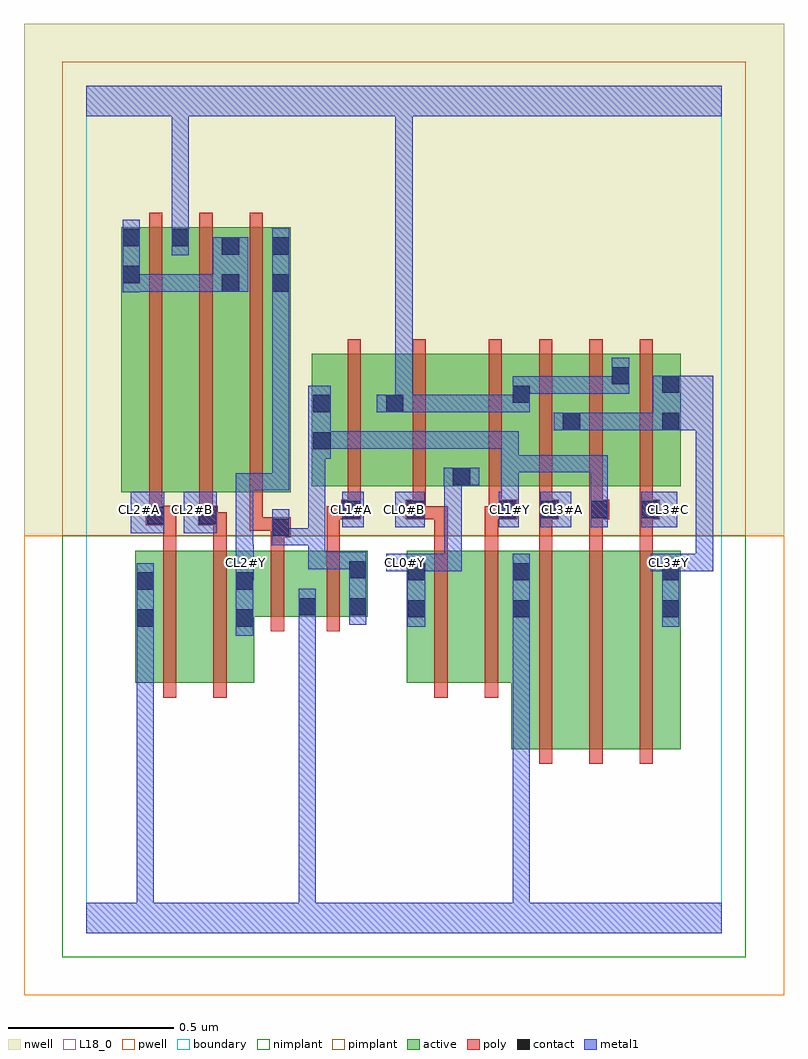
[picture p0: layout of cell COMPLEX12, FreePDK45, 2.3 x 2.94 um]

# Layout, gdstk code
import gdstk
lib = gdstk.Library(unit=1e-6, precision=1e-09)
def R(c, l, rs):  # rectangles x0, y0, x1, y1
    for r in rs: c.add(gdstk.rectangle(r[:2], r[2:], *l))
def A(c, l, x, y, w, h, nx, ny, dx, dy):  # array of equal rectangles
    R(c, l, [(x+i*dx, y+j*dy, x+i*dx+w, y+j*dy+h) for i in range(nx) for j in range(ny)])
active = (1, 0)
pwell = (2, 0)
nwell = (3, 0)
nimplant = (4, 0)
pimplant = (5, 0)
poly = (9, 0)
contact = (10, 0)
metal1 = (11, 0)
L18_0 = (18, 0)
boundary = (235, 0)

complex12 = lib.new_cell('COMPLEX12')
R(complex12, active, [(1.284,0.556,1.464,1.156), (1.464,0.556,1.616,1.156), (1.616,0.556,1.796,1.156), (1.736,0.556,1.796,1.156), (0.148,0.756,0.208,1.156), (0.148,0.756,0.328,1.156), (0.328,0.756,0.508,1.156), (0.448,0.756,0.508,1.156), (0.968,0.756,1.028,1.156), (0.968,0.756,1.148,1.156), (1.148,0.756,1.344,1.156), (1.284,0.756,1.344,1.156), (0.448,0.956,0.698,1.156), (0.638,0.956,0.698,1.156), (0.638,0.956,0.85,1.156), (0.79,0.956,0.85,1.156), (0.106,1.332,0.314,2.132), (0.106,1.332,0.166,2.132), (0.254,1.332,0.466,2.132), (0.406,1.332,0.618,2.132), (0.558,1.332,0.618,2.106), (0.682,1.35,0.742,1.644), (0.682,1.35,0.962,1.75), (0.902,1.35,0.962,1.644), (0.902,1.35,1.164,1.75), (1.104,1.35,1.164,1.644), (1.104,1.35,1.344,1.75), (1.284,1.35,1.496,1.75), (1.284,1.35,1.344,1.658), (1.436,1.35,1.644,1.75), (1.436,1.35,1.496,1.644), (1.584,1.35,1.796,1.75), (1.584,1.35,1.644,1.714), (1.736,1.35,1.796,1.688), (0.254,1.686,0.314,2.132), (0.406,1.686,0.466,2.106)])
R(complex12, pwell, [(-0.188,-0.188,2.108,1.2)])
R(complex12, nwell, [(-0.188,1.2,2.108,2.748)])
R(complex12, nimplant, [(-0.072,-0.072,1.992,1.2)])
R(complex12, pimplant, [(-0.072,1.2,1.992,2.632)])
A(complex12, poly, 1.368, 0.512, 0.04, 0.688, 3, 1, 0.152, 0)
A(complex12, poly, 1.368, 1.16, 0.04, 0.13, 3, 1, 0.152, 0)
A(complex12, poly, 1.368, 1.25, 0.06, 0.06, 3, 1, 0.152, 0)
A(complex12, poly, 1.216, 1.27, 0.04, 0.076, 4, 1, 0.152, 0)
A(complex12, poly, 0.19, 1.288, 0.04, 0.888, 3, 1, 0.152, 0)
A(complex12, poly, 1.216, 1.306, 0.04, 0.488, 4, 1, 0.152, 0)
R(complex12, poly, [(0.232,0.712,0.272,1.2), (0.384,0.712,0.424,1.2), (1.052,0.712,1.092,1.2), (1.204,0.712,1.244,1.2), (0.558,0.912,0.598,1.2), (0.726,0.912,0.766,1.2), (0.232,1.16,0.272,1.272), (0.384,1.16,0.424,1.272), (0.558,1.16,0.598,1.236), (0.726,1.16,0.766,1.29), (1.052,1.16,1.092,1.29), (1.204,1.16,1.244,1.29), (0.558,1.196,0.618,1.256), (0.494,1.216,0.534,1.328), (0.494,1.216,0.598,1.256), (0.558,1.216,0.598,1.256), (0.18,1.232,0.272,1.292), (0.338,1.232,0.398,1.292), (0.358,1.232,0.398,1.272), (0.358,1.232,0.424,1.272), (0.726,1.25,0.81,1.29), (0.77,1.25,0.81,1.29), (0.77,1.25,0.83,1.31), (0.966,1.25,1.026,1.31), (0.986,1.25,1.026,1.29), (0.986,1.25,1.092,1.29), (1.204,1.25,1.256,1.29), (1.216,1.25,1.256,1.29), (1.216,1.25,1.302,1.31), (1.52,1.25,1.56,1.29), (1.52,1.25,1.56,1.29), (1.672,1.25,1.712,1.29), (1.672,1.25,1.712,1.29), (0.19,1.252,0.23,1.328), (0.19,1.252,0.23,1.292), (0.19,1.252,0.23,1.292), (0.342,1.252,0.382,1.328), (0.79,1.27,0.83,1.346), (0.986,1.27,1.026,1.346), (1.368,1.27,1.408,1.31), (1.368,1.27,1.408,1.31), (0.79,1.306,0.83,1.794), (0.986,1.306,1.026,1.794)])
A(complex12, contact, 1.372, 1.254, 0.052, 0.052, 3, 1, 0.152, 0)
R(complex12, contact, [(0.152,0.926,0.204,0.978), (0.452,0.926,0.504,0.978), (0.972,0.954,1.024,1.006), (1.288,0.954,1.34,1.006), (1.74,0.954,1.792,1.006), (0.642,0.96,0.694,1.012), (0.794,0.96,0.846,1.012), (0.152,1.038,0.204,1.09), (0.452,1.038,0.504,1.09), (0.972,1.066,1.024,1.118), (1.288,1.066,1.34,1.118), (1.74,1.066,1.792,1.118), (0.794,1.072,0.846,1.124), (0.562,1.2,0.614,1.252), (0.184,1.236,0.236,1.288), (0.342,1.236,0.394,1.288), (0.774,1.254,0.826,1.306), (0.97,1.254,1.022,1.306), (1.246,1.254,1.298,1.306), (1.108,1.354,1.16,1.406), (0.686,1.462,0.738,1.514), (1.44,1.52,1.492,1.572), (1.74,1.52,1.792,1.572), (0.686,1.574,0.738,1.626), (0.906,1.574,0.958,1.626), (1.288,1.602,1.34,1.654), (1.74,1.632,1.792,1.684), (1.588,1.658,1.64,1.71), (0.41,1.938,0.462,1.99), (0.562,1.938,0.614,1.99), (0.11,1.964,0.162,2.016), (0.41,2.05,0.462,2.102), (0.562,2.05,0.614,2.102), (0.11,2.076,0.162,2.128), (0.258,2.076,0.31,2.128)])
R(complex12, metal1, [(0,0,1.92,0.092), (0.152,0.04,0.204,0.092), (0.152,0.04,0.204,0.092), (0.152,0.04,0.204,0.092), (0.152,0.04,0.204,0.092), (0.152,0.04,0.204,0.092), (0.152,0.04,0.204,0.092), (0.152,0.04,0.204,0.092), (0.152,0.04,0.204,0.092), (0.152,0.04,0.204,0.092), (0.152,0.04,0.204,0.092), (0.152,0.04,0.204,0.092), (0.152,0.04,0.204,0.092), (0.152,0.04,0.204,0.95), (0.642,0.04,0.694,0.092), (0.642,0.04,0.694,0.092), (0.642,0.04,0.694,0.092), (0.642,0.04,0.694,0.092), (0.642,0.04,0.694,0.092), (0.642,0.04,0.694,0.092), (0.642,0.04,0.694,0.092), (0.642,0.04,0.694,0.092), (0.642,0.04,0.694,0.092), (0.642,0.04,0.694,0.092), (0.642,0.04,0.694,0.092), (0.642,0.04,0.694,0.092), (0.642,0.04,0.694,0.092), (0.642,0.04,0.694,0.092), (0.642,0.04,0.694,0.092), (0.642,0.04,0.694,0.092), (0.642,0.04,0.694,0.984), (1.288,0.04,1.34,0.092), (1.288,0.04,1.34,0.092), (1.288,0.04,1.34,0.092), (1.288,0.04,1.34,0.092), (1.288,0.04,1.34,0.978), (0.152,0.898,0.204,1.118), (0.452,0.898,0.504,1.118), (0.97,0.926,1.024,1.146), (1.288,0.926,1.34,0.978), (1.288,0.926,1.34,0.978), (1.288,0.926,1.34,0.978), (1.288,0.926,1.34,0.978), (1.288,0.926,1.34,1.146), (1.74,0.926,1.792,1.146), (0.642,0.932,0.694,1.04), (0.794,0.932,0.846,1.152), (0.452,1.066,0.504,1.118), (0.452,1.066,0.506,1.174), (0.906,1.094,1.022,1.146), (0.97,1.094,1.022,1.146), (0.97,1.094,1.022,1.146), (0.97,1.094,1.022,1.146), (0.97,1.094,1.134,1.146), (1.082,1.094,1.134,1.146), (1.082,1.094,1.134,1.406), (1.706,1.094,1.894,1.146), (1.74,1.094,1.792,1.146), (1.842,1.094,1.894,1.572), (1.842,1.094,1.894,1.146), (1.842,1.094,1.894,1.146), (0.67,1.1,0.722,1.224), (0.67,1.1,0.726,1.152), (0.674,1.1,0.726,1.152), (0.674,1.1,0.726,1.152), (0.674,1.1,0.846,1.152), (0.452,1.122,0.504,1.39), (0.562,1.172,0.614,1.28), (0.562,1.172,0.616,1.224), (0.564,1.172,0.616,1.224), (0.564,1.172,0.722,1.224), (0.67,1.172,0.722,1.224), (0.67,1.172,0.722,1.224), (0.67,1.172,0.722,1.224), (0.67,1.172,0.722,1.486), (0.134,1.208,0.236,1.334), (0.294,1.208,0.394,1.334), (0.774,1.226,0.838,1.334), (0.934,1.226,1.022,1.334), (1.246,1.226,1.306,1.334), (1.372,1.226,1.466,1.334), (1.524,1.226,1.576,1.444), (1.676,1.226,1.786,1.334), (1.254,1.282,1.306,1.334), (1.254,1.282,1.306,1.444), (0.452,1.338,0.504,1.39), (0.452,1.338,0.504,1.39), (0.452,1.338,0.504,1.39), (0.452,1.338,0.614,1.39), (0.562,1.338,0.614,1.39), (0.562,1.338,0.614,1.962), (1.08,1.354,1.188,1.406), (1.082,1.354,1.134,1.406), (1.082,1.354,1.134,1.406), (1.254,1.392,1.45,1.444), (1.254,1.392,1.306,1.516), (1.398,1.392,1.45,1.444), (1.398,1.392,1.45,1.444), (1.398,1.392,1.45,1.444), (1.398,1.392,1.576,1.444), (0.67,1.434,0.738,1.654), (0.686,1.464,0.738,1.516), (0.686,1.464,0.738,1.516), (0.686,1.464,0.848,1.516), (0.796,1.464,0.848,1.516), (0.796,1.464,0.848,1.516), (0.796,1.464,0.848,1.516), (0.796,1.464,0.848,1.516), (0.796,1.464,0.848,1.516), (0.796,1.464,1.188,1.516), (1.136,1.464,1.188,1.516), (1.136,1.464,1.188,1.516), (1.136,1.464,1.188,1.516), (1.136,1.464,1.306,1.516), (1.254,1.464,1.306,1.516), (1.254,1.464,1.306,1.516), (1.254,1.464,1.306,1.516), (1.254,1.464,1.306,1.516), (1.254,1.464,1.306,1.516), (1.412,1.52,1.52,1.572), (1.468,1.52,1.56,1.572), (1.508,1.52,1.56,1.572), (1.508,1.52,1.648,1.572), (1.596,1.52,1.648,1.572), (1.596,1.52,1.764,1.572), (1.712,1.52,1.764,1.572), (1.712,1.52,1.764,1.572), (1.712,1.52,1.894,1.684), (0.878,1.574,0.986,1.626), (0.934,1.574,0.986,1.626), (0.934,1.574,0.986,1.626), (0.934,1.574,0.986,1.626), (0.934,1.574,0.986,1.626), (0.934,1.574,1.132,1.626), (0.934,1.574,0.986,2.52), (1.08,1.574,1.132,1.626), (1.08,1.574,1.132,1.626), (1.08,1.574,1.132,1.626), (1.08,1.574,1.298,1.626), (1.246,1.574,1.298,1.626), (1.246,1.574,1.34,1.626), (1.288,1.574,1.34,1.682), (1.288,1.63,1.45,1.682), (1.398,1.63,1.45,1.682), (1.398,1.63,1.45,1.682), (1.398,1.63,1.45,1.682), (1.398,1.63,1.618,1.682), (1.566,1.63,1.618,1.682), (1.566,1.63,1.64,1.682), (1.588,1.63,1.64,1.738), (0.562,1.91,0.614,2.13), (0.11,1.936,0.162,2.156), (0.11,1.938,0.162,1.99), (0.11,1.938,0.162,1.99), (0.11,1.938,0.272,1.99), (0.22,1.938,0.272,1.99), (0.22,1.938,0.272,1.99), (0.22,1.938,0.272,1.99), (0.22,1.938,0.434,1.99), (0.382,1.938,0.49,2.102), (0.258,2.048,0.31,2.156), (0.258,2.104,0.31,2.156), (0.258,2.104,0.31,2.156), (0.258,2.104,0.31,2.156), (0.258,2.104,0.31,2.156), (0.258,2.104,0.31,2.52), (0,2.468,1.92,2.56), (0.258,2.468,0.31,2.52), (0.258,2.468,0.31,2.52), (0.258,2.468,0.31,2.52), (0.258,2.468,0.31,2.52), (0.934,2.468,0.986,2.52), (0.934,2.468,0.986,2.52), (0.934,2.468,0.986,2.52), (0.934,2.468,0.986,2.52), (0.934,2.468,0.986,2.52), (0.934,2.468,0.986,2.52), (0.934,2.468,0.986,2.52), (0.934,2.468,0.986,2.52), (0.934,2.468,0.986,2.52), (0.934,2.468,0.986,2.52), (0.934,2.468,0.986,2.52), (0.934,2.468,0.986,2.52)])
R(complex12, L18_0, [(0,0,1.92,0.092), (0.152,0.04,0.204,0.092), (0.152,0.04,0.204,0.092), (0.152,0.04,0.204,0.092), (0.152,0.04,0.204,0.092), (0.152,0.04,0.204,0.092), (0.152,0.04,0.204,0.092), (0.152,0.04,0.204,0.092), (0.152,0.04,0.204,0.092), (0.152,0.04,0.204,0.092), (0.152,0.04,0.204,0.092), (0.152,0.04,0.204,0.092), (0.152,0.04,0.204,0.092), (0.152,0.04,0.204,0.95), (0.642,0.04,0.694,0.092), (0.642,0.04,0.694,0.092), (0.642,0.04,0.694,0.092), (0.642,0.04,0.694,0.092), (0.642,0.04,0.694,0.092), (0.642,0.04,0.694,0.092), (0.642,0.04,0.694,0.092), (0.642,0.04,0.694,0.092), (0.642,0.04,0.694,0.092), (0.642,0.04,0.694,0.092), (0.642,0.04,0.694,0.092), (0.642,0.04,0.694,0.092), (0.642,0.04,0.694,0.092), (0.642,0.04,0.694,0.092), (0.642,0.04,0.694,0.092), (0.642,0.04,0.694,0.092), (0.642,0.04,0.694,0.984), (1.288,0.04,1.34,0.092), (1.288,0.04,1.34,0.092), (1.288,0.04,1.34,0.092), (1.288,0.04,1.34,0.092), (1.288,0.04,1.34,0.978), (0.152,0.898,0.204,1.118), (0.452,0.898,0.504,1.118), (0.97,0.926,1.024,1.146), (1.288,0.926,1.34,0.978), (1.288,0.926,1.34,0.978), (1.288,0.926,1.34,0.978), (1.288,0.926,1.34,0.978), (1.288,0.926,1.34,1.146), (1.74,0.926,1.792,1.146), (0.642,0.932,0.694,1.04), (0.794,0.932,0.846,1.152), (0.452,1.066,0.504,1.118), (0.452,1.066,0.506,1.174), (0.454,1.094,0.506,1.146), (0.906,1.094,1.022,1.146), (0.934,1.094,0.986,1.146), (0.97,1.094,1.022,1.146), (0.97,1.094,1.022,1.146), (0.97,1.094,1.022,1.146), (0.97,1.094,1.134,1.146), (1.082,1.094,1.134,1.146), (1.082,1.094,1.134,1.406), (1.706,1.094,1.894,1.146), (1.734,1.094,1.786,1.146), (1.74,1.094,1.792,1.146), (1.842,1.094,1.894,1.146), (1.842,1.094,1.894,1.146), (1.842,1.094,1.894,1.572), (0.67,1.1,0.726,1.152), (0.67,1.1,0.722,1.224), (0.674,1.1,0.726,1.152), (0.674,1.1,0.726,1.152), (0.674,1.1,0.846,1.152), (0.452,1.122,0.504,1.39), (0.562,1.172,0.614,1.28), (0.562,1.172,0.616,1.224), (0.564,1.172,0.616,1.224), (0.564,1.172,0.722,1.224), (0.67,1.172,0.722,1.224), (0.67,1.172,0.722,1.224), (0.67,1.172,0.722,1.224), (0.67,1.172,0.722,1.486), (0.134,1.208,0.236,1.334), (0.294,1.208,0.394,1.334), (0.774,1.226,0.838,1.334), (0.934,1.226,1.022,1.334), (1.246,1.226,1.306,1.334), (1.372,1.226,1.466,1.334), (1.524,1.226,1.576,1.444), (1.676,1.226,1.786,1.334), (0.134,1.254,0.186,1.306), (0.294,1.254,0.346,1.306), (0.774,1.254,0.826,1.306), (0.934,1.254,0.986,1.306), (1.254,1.254,1.306,1.306), (1.414,1.254,1.466,1.306), (1.734,1.254,1.786,1.306), (1.254,1.282,1.306,1.334), (1.254,1.282,1.306,1.444), (0.452,1.338,0.504,1.39), (0.452,1.338,0.504,1.39), (0.452,1.338,0.504,1.39), (0.452,1.338,0.614,1.39), (0.562,1.338,0.614,1.39), (0.562,1.338,0.614,1.962), (1.08,1.354,1.188,1.406), (1.082,1.354,1.134,1.406), (1.082,1.354,1.134,1.406), (1.254,1.392,1.306,1.516), (1.254,1.392,1.45,1.444), (1.398,1.392,1.45,1.444), (1.398,1.392,1.45,1.444), (1.398,1.392,1.45,1.444), (1.398,1.392,1.576,1.444), (0.67,1.434,0.738,1.654), (0.686,1.464,0.738,1.516), (0.686,1.464,0.738,1.516), (0.686,1.464,0.848,1.516), (0.796,1.464,0.848,1.516), (0.796,1.464,0.848,1.516), (0.796,1.464,0.848,1.516), (0.796,1.464,0.848,1.516), (0.796,1.464,0.848,1.516), (0.796,1.464,1.188,1.516), (1.136,1.464,1.188,1.516), (1.136,1.464,1.188,1.516), (1.136,1.464,1.188,1.516), (1.136,1.464,1.306,1.516), (1.254,1.464,1.306,1.516), (1.254,1.464,1.306,1.516), (1.254,1.464,1.306,1.516), (1.254,1.464,1.306,1.516), (1.254,1.464,1.306,1.516), (1.412,1.52,1.52,1.572), (1.468,1.52,1.56,1.572), (1.508,1.52,1.56,1.572), (1.508,1.52,1.648,1.572), (1.596,1.52,1.648,1.572), (1.596,1.52,1.764,1.572), (1.712,1.52,1.764,1.572), (1.712,1.52,1.764,1.572), (1.712,1.52,1.894,1.684), (0.878,1.574,0.986,1.626), (0.934,1.574,0.986,1.626), (0.934,1.574,0.986,1.626), (0.934,1.574,0.986,1.626), (0.934,1.574,0.986,1.626), (0.934,1.574,0.986,2.52), (0.934,1.574,1.132,1.626), (1.08,1.574,1.132,1.626), (1.08,1.574,1.132,1.626), (1.08,1.574,1.132,1.626), (1.08,1.574,1.298,1.626), (1.246,1.574,1.298,1.626), (1.246,1.574,1.34,1.626), (1.288,1.574,1.34,1.682), (1.288,1.63,1.45,1.682), (1.398,1.63,1.45,1.682), (1.398,1.63,1.45,1.682), (1.398,1.63,1.45,1.682), (1.398,1.63,1.618,1.682), (1.566,1.63,1.618,1.682), (1.566,1.63,1.64,1.682), (1.588,1.63,1.64,1.738), (0.562,1.91,0.614,2.13), (0.258,2.048,0.31,2.156), (0.258,2.104,0.31,2.156), (0.258,2.104,0.31,2.156), (0.258,2.104,0.31,2.156), (0.258,2.104,0.31,2.156), (0.258,2.104,0.31,2.52), (0,2.468,1.92,2.56), (0.258,2.468,0.31,2.52), (0.258,2.468,0.31,2.52), (0.258,2.468,0.31,2.52), (0.258,2.468,0.31,2.52), (0.934,2.468,0.986,2.52), (0.934,2.468,0.986,2.52), (0.934,2.468,0.986,2.52), (0.934,2.468,0.986,2.52), (0.934,2.468,0.986,2.52), (0.934,2.468,0.986,2.52), (0.934,2.468,0.986,2.52), (0.934,2.468,0.986,2.52), (0.934,2.468,0.986,2.52), (0.934,2.468,0.986,2.52), (0.934,2.468,0.986,2.52), (0.934,2.468,0.986,2.52)])
R(complex12, boundary, [(0,0,1.92,2.56)])
complex12.add(gdstk.Label('CL0#B', (0.96,1.28), layer=11, texttype=0))
complex12.add(gdstk.Label('CL0#Y', (0.96,1.12), layer=11, texttype=0))
complex12.add(gdstk.Label('CL1#A', (0.8,1.28), layer=11, texttype=0))
complex12.add(gdstk.Label('CL1#Y', (1.28,1.28), layer=11, texttype=0))
complex12.add(gdstk.Label('CL2#A', (0.16,1.28), layer=11, texttype=0))
complex12.add(gdstk.Label('CL2#B', (0.32,1.28), layer=11, texttype=0))
complex12.add(gdstk.Label('CL2#Y', (0.48,1.12), layer=11, texttype=0))
complex12.add(gdstk.Label('CL3#A', (1.44,1.28), layer=11, texttype=0))
complex12.add(gdstk.Label('CL3#C', (1.76,1.28), layer=11, texttype=0))
complex12.add(gdstk.Label('CL3#Y', (1.76,1.12), layer=11, texttype=0))

lib.write_gds('COMPLEX12.gds')
